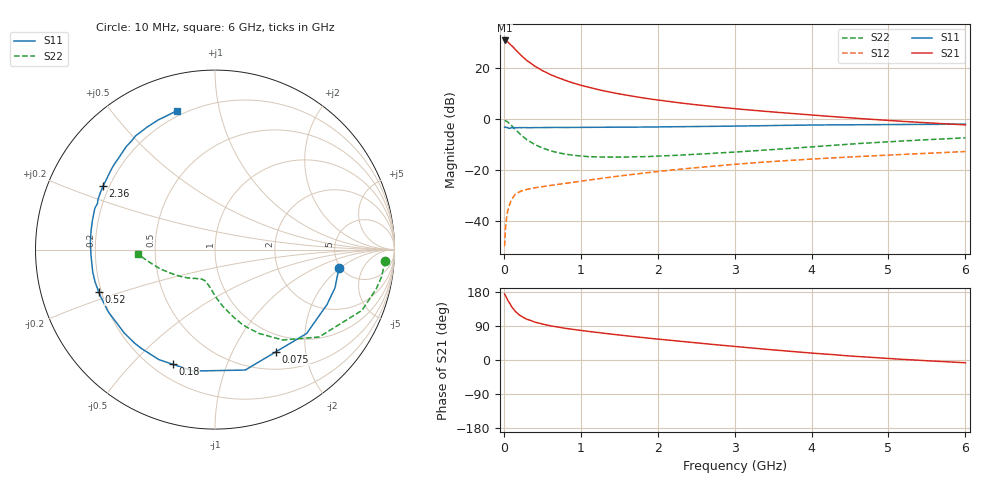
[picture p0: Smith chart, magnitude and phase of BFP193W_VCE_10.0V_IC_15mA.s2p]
! Infineon Technologies  Discrete & RF Semiconductors
! BFP193W
! VCE = 10.0V,  IC =  15 mA
! Common Emitter S-Parameters:  Jan 2016
# GHz  S  MA  R  50
!  f  S11  S21  S12  S22
! GHz  MAG  ANG  MAG  ANG  MAG  ANG  MAG  ANG
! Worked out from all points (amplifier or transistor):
!   210 points, 10 MHz to 6 GHz, reference 50 ohm
!   highest |S21| = 31.0 dB at 10 MHz (marker M1)
!   |S21| within 3 dB of that: start of sweep to 131.9 MHz
!   unconditionally stable (mu >= 1): 1.187 GHz to 4.881 GHz
!   at 185 MHz: K = 0.27, MSG = 27.6 dB, |S12| = -28.8 dB
!   at 1.52 GHz: K = 1.07, MAG = 14.4 dB, |S12| = -22.2 dB
!   at 6 GHz: K = 0.93, MSG = 5.2 dB, |S12| = -12.7 dB
!   S11 on the Smith chart (normalised r, x): 10 MHz: 4.83, -1.92; 75 MHz: 0.74, -1.50; 180 MHz: 0.28, -0.66; 520 MHz: 0.19, -0.17; 2.36 GHz: 0.18, +0.26; 6 GHz: 0.17, +0.75
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0.01  0.698 -8.4  35.51 174.1  0.0032 77.6  0.9509 -3.8
0.02  0.7016 -17.6  35.29 170.6  0.0067 77.1  0.94 -9.4
0.03  0.6952 -26.1  34.82 166.3  0.0098 76.1  0.9242 -13.8
0.05  0.6922 -42.5  33.37 157.9  0.0157 68.8  0.8859 -22.5
0.075  0.6629 -59.2  30.53 150.0  0.021 60.9  0.8121 -30.6
0.1  0.6919 -75.9  28.39 140.7  0.0266 56.2  0.7573 -40.0
0.15  0.6877 -100.3  23.55 127.8  0.0335 47.2  0.6296 -53.1
0.18  0.681 -110.3  21.11 122.9  0.0357 43.9  0.5672 -58.2
0.2  0.6881 -116.9  19.59 119.0  0.0372 41.9  0.5286 -62.2
0.24  0.6866 -126.5  17.2 114.1  0.0396 39.5  0.4694 -67.5
0.3  0.6866 -137.5  14.28 107.5  0.0419 37.0  0.395 -74.2
0.4  0.6887 -150.0  11.12 100.1  0.0449 35.5  0.32 -82.1
0.52  0.6893 -159.9  8.786 94.0  0.0479 36.3  0.2666 -88.6
0.7  0.6926 -169.6  6.627 86.9  0.0524 38.2  0.2201 -95.9
1.02  0.6933 179.2  4.586 77.6  0.0612 42.4  0.1887 -105.0
1.4  0.6996 169.2  3.377 68.2  0.0732 45.8  0.1803 -112.2
2.02  0.7095 156.5  2.373 54.8  0.0947 48.2  0.1898 -121.4
2.36  0.7166 150.5  2.04 48.0  0.1068 48.2  0.2006 -126.8
3.1  0.7378 138.1  1.568 34.0  0.1338 46.3  0.2321 -138.7
4.1  0.7737 123.7  1.182 16.9  0.1686 41.6  0.2943 -155.2
5.1  0.789 112.9  0.928 2.7  0.2012 36.5  0.3689 -168.7
6  0.8024 105.5  0.777 -7.3  0.2323 32.1  0.4321 -177.1
